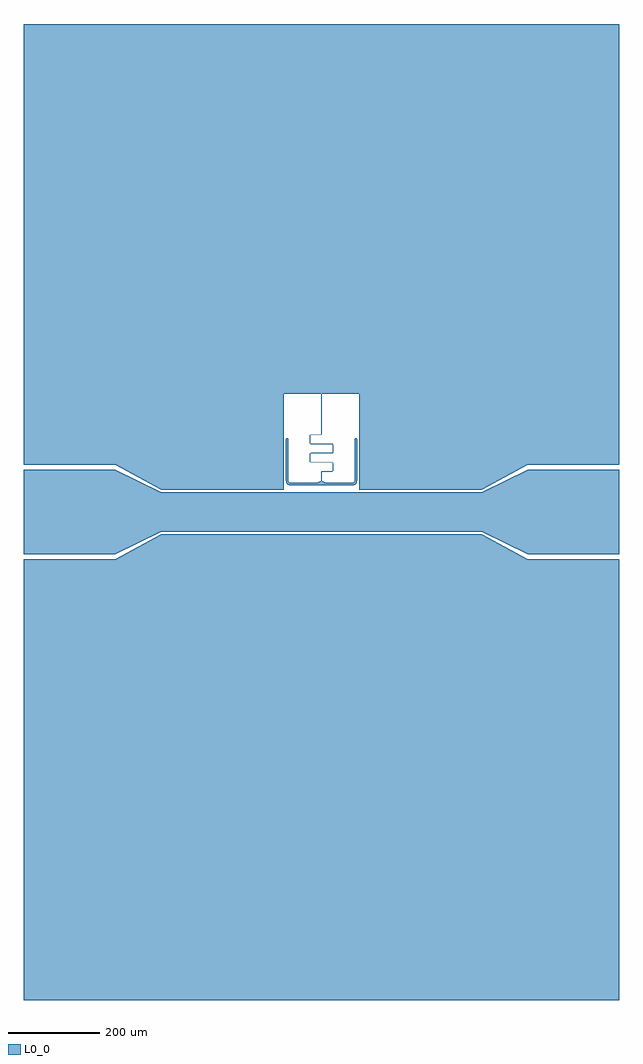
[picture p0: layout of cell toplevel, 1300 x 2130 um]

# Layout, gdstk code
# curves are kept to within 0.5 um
import gdstk
lib = gdstk.Library(unit=1e-6, precision=1e-09)
def P(c, l, *ps):  # polygons
    for p in ps: c.add(gdstk.Polygon(p, *l))
L0_0 = (0, 0)

toplevel = lib.new_cell('toplevel')
P(toplevel, L0_0, [(82.5,258.5),(82.5,48.5),(350,48.5),(450,102.575),(650,102.575),(650,1065),(-650,1065),(-650,102.575),(-450,102.575),(-350,48.5),(-82.5,48.5),(-82.5,258.5)],
  [(650,-1065),(650,-102.575),(450,-102.575),(350,-48.5),(-350,-48.5),(-450,-102.575),(-650,-102.575),(-650,-1065)],
  [(-75.109,160.998),(-76.768,160.268),(-77.498,158.609),(-77.495,69.262),(-76.51,63.737),(-73.502,60.154),(-70.563,58.918),(-66.738,58.505),(66.879,58.507),(72.263,59.489),(75.811,62.445),(77.108,65.545),(77.499,69.678),(77.5,158.5),(76.343,160.608),(73.846,160.717),(72.502,158.609),(72.493,69.17),(72.07,66.098),(70.83,64.381),(66.336,63.501),(-66.125,63.5),(-70.871,64.409),(-72.426,67.868),(-72.502,158.609),(-73.311,160.343)],
  [(0.3,68.5),(0.302,86.565),(0.411,87.35),(0.725,87.854),(1.227,88.112),(1.975,88.199),(23.516,88.23),(24.335,88.466),(24.908,88.959),(25.222,89.694),(25.3,90.744),(25.287,106.823),(24.951,107.978),(24.131,108.625),(22.883,108.8),(-23.105,108.803),(-24.213,109.095),(-24.663,109.969),(-24.694,126.675),(-24.49,127.58),(-23.933,128.059),(-22.871,128.2),(23.167,128.205),(23.98,128.323),(24.603,128.639),(25.022,129.143),(25.249,129.834),(25.29,146.778),(24.971,147.945),(24.165,148.612),(22.894,148.8),(-23.095,148.803),(-24.179,149.071),(-24.647,149.877),(-24.698,166.565),(-24.58,167.375),(-24.238,167.885),(-23.739,168.121),(-23.004,168.199),(-1.643,168.215),(-0.397,168.639),(-0.015,169.076),(0.217,169.671),(0.3,258.5),(-0.3,258.5),(-0.368,169.806),(-0.801,169.085),(-1.746,168.81),(-23.067,168.798),(-23.957,168.683),(-24.613,168.353),(-25.112,167.665),(-25.295,166.656),(-25.236,149.764),(-24.997,149.098),(-24.573,148.615),(-23.969,148.32),(-23.167,148.205),(22.871,148.2),(23.933,148.059),(24.49,147.58),(24.695,146.665),(24.657,129.932),(24.199,129.085),(23.095,128.803),(-22.894,128.8),(-24.165,128.612),(-24.971,127.945),(-25.289,126.789),(-25.256,109.88),(-25.034,109.165),(-24.613,108.647),(-23.992,108.327),(-23.178,108.205),(22.871,108.2),(23.917,108.065),(24.482,107.595),(24.693,106.695),(24.7,90.744),(24.649,89.886),(24.433,89.327),(24.027,88.983),(23.399,88.821),(1.922,88.798),(0.997,88.67),(0.327,88.303),(-0.13,87.619),(-0.296,86.644),(-0.3,68.5)],
  [(10,63.5),(0.3,68.5),(-0.3,68.5),(-10,63.5)],
  [(-350,43.5),(-450,92),(-650,92),(-650,-92),(-450,-92),(-350,-43.5),(350,-43.5),(450,-92),(650,-92),(650,92),(450,92),(350,43.5)])

lib.write_gds('toplevel.gds')
